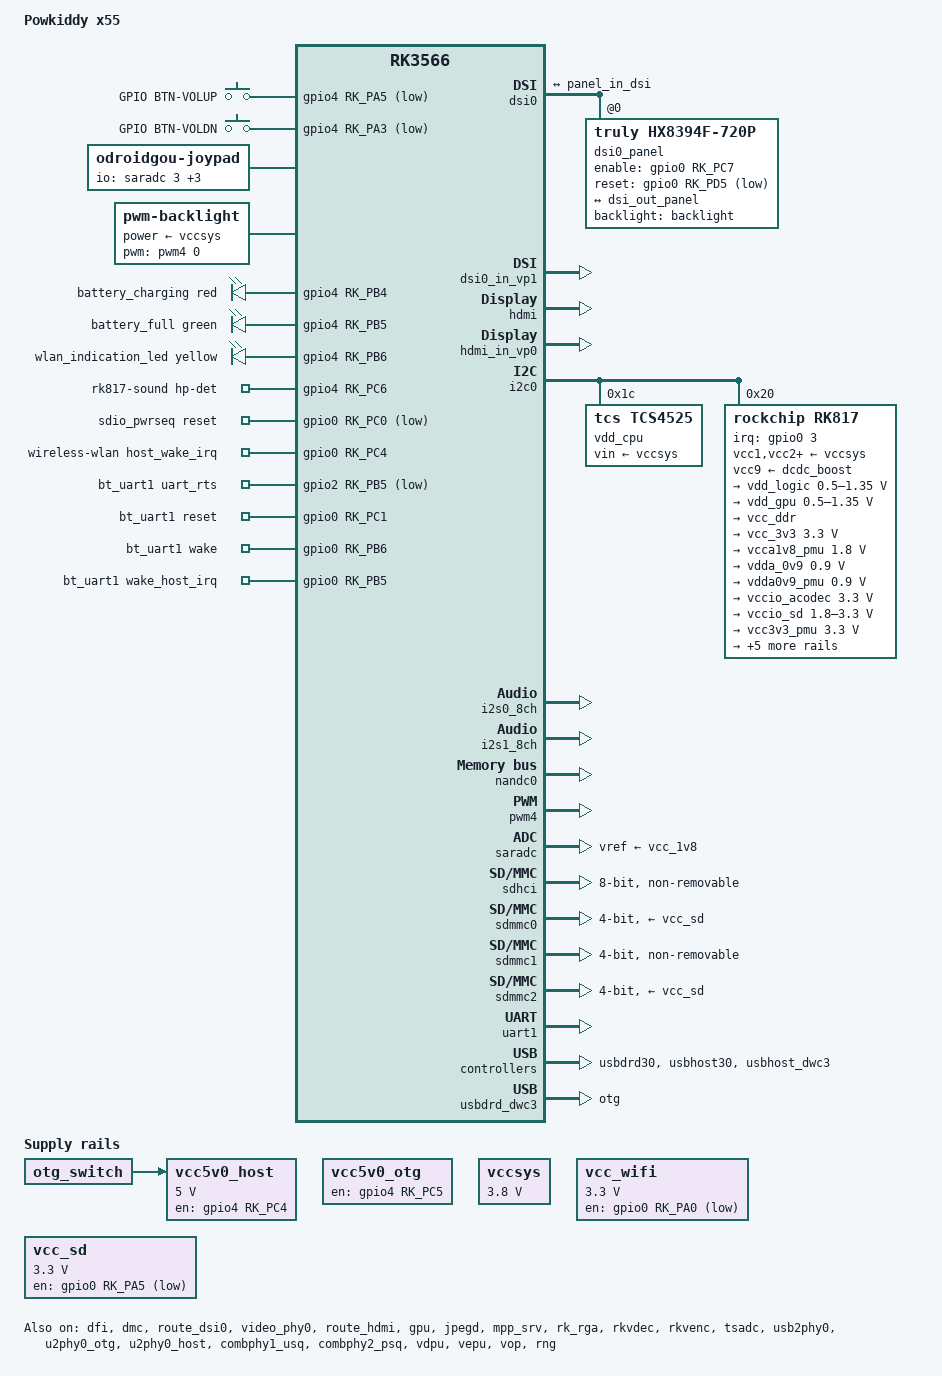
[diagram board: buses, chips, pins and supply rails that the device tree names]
// SPDX-License-Identifier: (GPL-2.0+ OR MIT)
/*
 * Copyright (c) 2020 Rockchip Electronics Co., Ltd.
 *
 */

/dts-v1/;

#include <dt-bindings/gpio/gpio.h>
#include <dt-bindings/pinctrl/rockchip.h>
#include <dt-bindings/input/rk-input.h>
#include <dt-bindings/leds/common.h>
#include <dt-bindings/sensor-dev.h>
#include <dt-bindings/display/drm_mipi_dsi.h>
#include <dt-bindings/display/rockchip_vop.h>
#include "rk3566.dtsi"
/ {
	
	model = "Powkiddy x55";
	compatible = "rockchip,rk3566-rk817-tablet", "rockchip,rk3566";

	aliases {
		mmc3 = &sdhci;
		mmc0 = &sdmmc0;
		mmc2 = &sdmmc1;
		mmc1 = &sdmmc2;
	};

	fiq_debugger: fiq-debugger {
		compatible = "rockchip,fiq-debugger";
		rockchip,serial-id = <2>;
		rockchip,wake-irq = <0>;
		/* If enable uart uses irq instead of fiq */
		rockchip,irq-mode-enable = <1>;
		rockchip,baudrate = <1500000>;  /* Only 115200 and 1500000 */
		interrupts = <GIC_SPI 252 IRQ_TYPE_LEVEL_LOW>;
		pinctrl-names = "default";
		pinctrl-0 = <&uart2m0_xfer>;
		status = "okay";
	};

	reserved-memory {
		#address-cells = <2>;
		#size-cells = <2>;
		ranges;

		cma {
			compatible = "shared-dma-pool";
			reusable;
			size = <0x0 (8 * 0x100000)>;
			linux,cma-default;
		};

		drm_logo: drm-logo@00000000 {
			compatible = "rockchip,drm-logo";
			reg = <0x0 0x0 0x0 0x0>;
		};
	};
	
	gpio_keys: x55-gpio-keys {
		compatible = "gpio-keys";
		autorepeat;
		pinctrl-0 = <&btn_pins_vol>;
		pinctrl-names = "default";
		
		button@0 {
			label = "GPIO BTN-VOLUP";
			linux,code = <KEY_VOLUMEUP>;
                        gpios = <&gpio4 RK_PA5 GPIO_ACTIVE_LOW> ;
		};
		button@1 {
			label = "GPIO BTN-VOLDN";
			linux,code = <KEY_VOLUMEDOWN>;
                        gpios = <&gpio4 RK_PA3 GPIO_ACTIVE_LOW>;
		};
	};

	joypad: gou_joypad {
                compatible = "odroidgou-joypad";
		status = "okay";

                joypad-name = "GO-Ultra Gamepad";
                joypad-product = <0x1000>;
                joypad-revision = <0x0100>;
		joypad-vendor = <0x484B>;

		/* Analog mux define */
		io-channels = <&saradc 3>,<&saradc 2>,<&saradc 1>, <&saradc 0>;
		io-channel-names = "key-RY", "key-RX", "key-LY", "key-LX";

		/* adc calculate scale */
		button-adc-scale = <2>;

		/* adc deadzone range  */
		button-adc-deadzone = <216>;

		/*
		  specifies fuzz value that is used to filter noise from
		  the event stream.
		*/
		button-adc-fuzz = <54>;
		button-adc-flat = <54>;

		/*
		  Analog Stick data tuning value(precent)
		  p = positive direction, n = negative direction
		  report value = (real_adc_data * tuning_value) / 100
		*/
		abs_x-p-tuning = <180>;
		abs_x-n-tuning = <180>;

		abs_y-p-tuning = <180>;
		abs_y-n-tuning = <180>;

		abs_rx-p-tuning = <180>;
		abs_rx-n-tuning = <180>;

		abs_ry-p-tuning = <180>;
		abs_ry-n-tuning = <180>;

		/* poll device interval (ms), adc read interval */
		poll-interval = <10>;

		/* gpio button auto repeat set value : default disable */
		/*
			autorepeat;
		*/

		/*    *** Powkiddy X55 Switch layout ***
		|------------------------------------------------|
		| sw15                           	    sw13 |
		| sw16                          	    sw14 |
		|------------------------------------------------|
		|                                                |
		|   Analog     |-------------------|             |
		|    sw11      |                   |      sw8    |
		|              |                   |   sw7   sw5 |
		|              |    LCD Display    |      sw6    |
		|     sw1      |                   |             |
		|  sw3  sw4    |                   |    Analog   |
		|     sw2      |-------------------|     sw12    |
		|                                                |         
		| sw9 Vol+                           Vol- sw10   |
		|                                                |
		|------------------------------------------------| */
                /*  joypad driver is poll-device driver.
                    poll-device is does not support wakeup-source.
		*/
                
                sw1 {
                        gpios = <&gpio4 RK_PA0 GPIO_ACTIVE_LOW>;
                        label = "GPIO DPAD-UP";
                        linux,code = <103>; // 0x220
                };                
                sw2 {
                        gpios = <&gpio4 RK_PA1 GPIO_ACTIVE_LOW>;
                        label = "GPIO DPAD-DOWN";
                        linux,code = <108>; // 0x221
                };
                sw3 {
                        gpios = <&gpio3 RK_PD6 GPIO_ACTIVE_LOW>;
                        label = "GPIO DPAD-LEFT";
                        linux,code = <105>; // 0x222
                };                
                sw4 {
                        gpios = <&gpio3 RK_PD7 GPIO_ACTIVE_LOW>;
                        label = "GPIO DPAD-RIGHT";
                        linux,code = <106>; // 0x223
                };
                sw5 {
                        gpios = <&gpio3 RK_PD3 GPIO_ACTIVE_LOW>;
                        label = "GPIO BTN-A";
                        linux,code = <304>; // 0x131
                };
                sw6 {
                        gpios = <&gpio3 RK_PD2 GPIO_ACTIVE_LOW> ;
                        label = "GPIO BTN-B";
                        linux,code = <305>; // 0x130
                };                
                sw7 {
                        gpios = <&gpio3 RK_PD4 GPIO_ACTIVE_LOW>;
                        label = "GPIO BTN-Y";
                        linux,code = <308>; // 0x134
                };                
                sw8 {
                        gpios = <&gpio3 RK_PD5 GPIO_ACTIVE_LOW>;
                        label = "GPIO BTN-X";
                        linux,code = <307>; // 0x133
                };                
                sw9 {
                        gpios = <&gpio4 RK_PA4 GPIO_ACTIVE_LOW>;
                        label = "Select";
                        linux,code = <314>; //0x139 //select                        
                };
                sw10 {
                        gpios = <&gpio4 RK_PA2 GPIO_ACTIVE_LOW>;
                        label = "Start";
                        linux,code = <315>; // 0x13a // start                        
                };
                sw11 {
                        gpios = <&gpio4 RK_PA7 GPIO_ACTIVE_LOW>;
                        label = "BUTTON_THUMBL";
                        linux,code = <317>;             
                };
                sw12 {
                        gpios = <&gpio4 RK_PB0 GPIO_ACTIVE_LOW>;
                        label = "BUTTON_THUMBR";
                        linux,code = <318>;
                };
                sw13 {
                        gpios = <&gpio3 RK_PC6 GPIO_ACTIVE_LOW>;
                        label = "GPIO TOP-RIGHT";
                        linux,code = <311>; // 0x05
                };                
                sw14 {
                        gpios = <&gpio3 RK_PC7 GPIO_ACTIVE_LOW>;
                        label = "GPIO TOP-RIGHT2";
                        linux,code = <313>;
                };
                sw15 {
                        gpios = <&gpio3 RK_PD0 GPIO_ACTIVE_LOW>;
                        label = "GPIO TOP-LEFT";
                        linux,code = <310>; // 0x02
                };                
                sw16 {
                        gpios = <&gpio3 RK_PD1 GPIO_ACTIVE_LOW>;
                        label = "GPIO TOP-LEFT2";
                        linux,code = <312>;
                };                
                
        };

	backlight: backlight {
		compatible = "pwm-backlight";
		power-supply = <&vccsys>;
		pwms = <&pwm4 0 25000 0>;
		brightness-levels = <
			  0  20  20  21  21  22  22  23
			 23  24  24  25  25  26  26  27
			 27  28  28  29  29  30  30  31
			 31  32  32  33  33  34  34  35
			 35  36  36  37  37  38  38  39
			 40  41  42  43  44  45  46  47
			 48  49  50  50  51  52  53  54
			 55  55  56  57  58  59  60  61
			 62  63  64  64  65  65  66  67
			 68  69  70  71  71  72  73  74
			 75  76  77  78  79  79  80  81
			 82  83  84  85  86  86  87  88
			 89  90  91  92  93  94  94  95
			 96  97  98  99 100 101 101 102
			103 104 105 106 107 107 108 109
			110 111 112 113 114 115 115 116
			117 118 119 120 121 122 123 123
			124 125 126 127 128 129 130 130
			131 132 133 134 135 136 136 137
			138 139 140 141 142 143 143 144
			145 146 147 147 148 149 150 151
			152 153 154 155 156 156 157 158
			159 157 158 159 160 161 162 162
			163 164 165 166 167 168 169 169
			170 171 172 173 174 175 175 176
			177 178 179 180 181 182 182 183
			184 185 186 187 188 189 190 190
			191 192 193 194 195 196 197 197
			198 199 200 201 202 203 204 204
			205 206 207 208 209 209 210 211
			212 213 213 214 214 215 215 216
			216 217 217 218 218 219 219 220
		>;
		default-brightness-level = <200>;
	};

	gpio-leds {
		compatible = "gpio-leds";

		led-red {
			color = <LED_COLOR_ID_RED>;
			gpios = <&gpio4 RK_PB4 GPIO_ACTIVE_HIGH>;
			linux,default-trigger = "battery-charging";
			label = "battery_charging";
		};
		
		led-green {
			color = <LED_COLOR_ID_GREEN>;
			gpios = <&gpio4 RK_PB5 GPIO_ACTIVE_HIGH>;
			linux,default-trigger = "battery-full";
			label = "battery_full";
		};
		
		led-yellow {
			color = <LED_COLOR_ID_YELLOW>;
			gpios = <&gpio4 RK_PB6 GPIO_ACTIVE_HIGH>;
			linux,default-trigger = "wlan-indication-led";
			label = "wlan_indication_led";
		};		
	};

	charge-animation {
		compatible = "rockchip,uboot-charge";
		rockchip,uboot-charge-on = <1>;
		rockchip,android-charge-on = <0>;
		rockchip,uboot-low-power-voltage = <3350>;
		rockchip,screen-on-voltage = <3400>;
		status = "okay";
	};

	vcc5v0_otg: vcc5v0-otg-regulator {
		compatible = "regulator-fixed";
		enable-active-high;
		gpio = <&gpio4 RK_PC5 GPIO_ACTIVE_HIGH>;
		pinctrl-names = "default";
		pinctrl-0 = <&vcc5v0_otg_en>;
		regulator-name = "vcc5v0_otg";
		regulator-always-on;
		regulator-boot-on;		
	};

	vcc5v0_host: vcc5v0-host-regulator {
		compatible = "regulator-fixed";
		regulator-name = "vcc5v0_host";
		regulator-always-on;
		regulator-boot-on;
		regulator-min-microvolt = <5000000>;
		regulator-max-microvolt = <5000000>;		
		enable-active-high;
		gpio = <&gpio4 RK_PC4 GPIO_ACTIVE_HIGH>;
		vin-supply = <&otg_switch>;		
		pinctrl-names = "default";
		pinctrl-0 = <&vcc5v0_host_en>;


	};

	rk817-sound {
		compatible = "simple-audio-card";
		pinctrl-names = "default";
		pinctrl-0 = <&hp_det>;
		
		simple-audio-card,format = "i2s";
		simple-audio-card,name = "rockchip,rk817-codec";
		simple-audio-card,mclk-fs = <256>;
		
		simple-audio-card,hp-det-gpio = <&gpio4 RK_PC6 GPIO_ACTIVE_HIGH>;

		simple-audio-card,cpu {
			sound-dai = <&i2s1_8ch>;
		};
		simple-audio-card,codec {
			sound-dai = <&rk817_codec>;
		};
	};

	hdmi_sound: hdmi-sound {
		compatible = "rockchip,hdmi";
		rockchip,mclk-fs = <128>;
		rockchip,card-name = "rockchip,hdmi";
		rockchip,cpu = <&i2s0_8ch>;
		rockchip,codec = <&hdmi>;
		rockchip,jack-det;
	};

	vccsys: vccsys {
		compatible = "regulator-fixed";
		regulator-name = "vcc3v8_sys";
		regulator-always-on;
		regulator-boot-on;
		regulator-min-microvolt = <3800000>;
		regulator-max-microvolt = <3800000>;
	};

	vcc_wifi: regulator-vcc-wifi {
		compatible = "regulator-fixed";
		gpio = <&gpio0 RK_PA0 GPIO_ACTIVE_LOW>;
		pinctrl-0 = <&vcc_wifi_h>;
		pinctrl-names = "default";
		regulator-always-on;
		regulator-boot-on;
		regulator-min-microvolt = <3300000>;
		regulator-max-microvolt = <3300000>;
		regulator-name = "vcc_wifi";
	};
	
	sdio_pwrseq: sdio-pwrseq {
		compatible = "mmc-pwrseq-simple";
		clocks = <&rk817 1>;
		clock-names = "ext_clock";
		pinctrl-names = "default";
		pinctrl-0 = <&wifi_enable_h>;		
		post-power-on-delay-ms = <200>;
		reset-gpios = <&gpio0 RK_PC0 GPIO_ACTIVE_LOW>;
	};

	wireless-wlan {
		compatible = "wlan-platdata";
		rockchip,grf = <&grf>;
		wifi_chip_type = "rtl8821cs";
		pinctrl-names = "default";
		pinctrl-0 = <&wifi_host_wake_irq>;
		WIFI,host_wake_irq = <&gpio0 RK_PC4 GPIO_ACTIVE_HIGH>;
		status = "okay";
	};

	bt_uart1: wireless_bluetooth: wireless-bluetooth {
		compatible = "bluetooth-platdata";
		clocks = <&rk817 1>;
		clock-names = "ext_clock";
		//wifi-bt-power-toggle;
		uart_rts_gpios = <&gpio2 RK_PB5 GPIO_ACTIVE_LOW>;
		pinctrl-names = "default", "rts_gpio";
		pinctrl-0 = <&uart1m0_rtsn>,
			    <&bt_reset_gpio>,
			    <&bt_wake_gpio>,
			    <&bt_irq_gpio>;
		pinctrl-1 = <&uart1_gpios>;
		BT,reset_gpio    = <&gpio0 RK_PC1 GPIO_ACTIVE_HIGH>;
		BT,wake_gpio     = <&gpio0 RK_PB6 GPIO_ACTIVE_HIGH>;
		BT,wake_host_irq = <&gpio0 RK_PB5 GPIO_ACTIVE_HIGH>;
		status = "okay";
	};

	vcc_sd: vcc-sd {
		compatible = "regulator-gpio";
		enable-active-low;
		enable-gpio = <&gpio0 RK_PA5 GPIO_ACTIVE_LOW>;
		regulator-min-microvolt = <3300000>;
		regulator-max-microvolt = <3300000>;
		pinctrl-names = "default";
		pinctrl-0 = <&vcc_sd_h>;
		regulator-name = "vcc_sd";
		states = <3300000 0x0
			3300000 0x1>;
	};
};

&cpu0 {
	cpu-supply = <&vdd_cpu>;
};

&csi2_dphy_hw {
	status = "disabled";
};

&csi2_dphy0 {
	status = "disabled";
};

&vp0 {
			rockchip,plane-mask = <0x2a>;
			rockchip,primary-plane = <0x5>;
};

&vp1 {
			rockchip,plane-mask = <0x15>;
			rockchip,primary-plane = <0x4>;
};


&dfi {
	status = "okay";
};

&dmc {
	center-supply = <&vdd_logic>;
	status = "okay";
};

&dsi0 {
	status = "okay";
	rockchip,lane-rate = <500>;

	dsi0_panel: panel@0 {
		compatible = "truly,hx8394f-720p", "simple-panel-dsi";
                reg = <0>;
                
		backlight = <&backlight>;
		enable-gpios = <&gpio0 RK_PC7 GPIO_ACTIVE_HIGH>;
		reset-gpios = <&gpio0 RK_PD5 GPIO_ACTIVE_LOW>;
		pinctrl-names = "default";
		pinctrl-0 = <&lcd_enable_gpio>, <&lcd_rst_gpio>;
                
		reset-delay-ms = <60>;
		enable-delay-ms = <120>;
		prepare-delay-ms = <60>;
		init-delay-ms = <60>;
		unprepare-delay-ms = <60>;
		disable-delay-ms = <60>;

		width-mm = <69>;
		height-mm = <139>;
		
		dsi,flags = <(MIPI_DSI_MODE_VIDEO | MIPI_DSI_MODE_VIDEO_BURST |
			MIPI_DSI_MODE_LPM | MIPI_DSI_MODE_EOT_PACKET)>;
		dsi,format = <MIPI_DSI_FMT_RGB888>;
		dsi,lanes  = <4>;
		
		panel-init-sequence = [
			39 00 04 B9 FF 83 94
			39 00 07 BA 63 03 68 6B B2 C0
			39 00 0B B1 48 12 72 09 32 54 71 71 57 47
			39 00 07 B2 00 80 64 0C 0D 2F
			39 00 16 B4 73 74 73 74 73 74 01 0C 86 75 00 3F 73 74 73 74 73 74 01 0C 86
			39 00 03 B6 6E 6E
			39 00 22 D3 00 00 07 07 40 07 0C 00 08 10 08 00 08 54 15 0A 05 0A 02 15 06 05 06 47 44 0A 0A 4B 10 07 07 0C 40
			39 00 2D D5 1C 1C 1D 1D 00 01 02 03 04 05 06 07 08 09 0A 0B 24 25 18 18 26 27 18 18 18 18 18 18 18 18 18 18 18 18 18 18 18 18 20 21 18 18 18 18 
			39 00 2D D6 1C 1C 1D 1D 07 06 05 04 03 02 01 00 0B 0A 09 08 21 20 18 18 27 26 18 18 18 18 18 18 18 18 18 18 18 18 18 18 18 18 25 24 18 18 18 18
			39 00 3B E0 00 0A 15 1B 1E 21 24 22 47 56 65 66 6E 82 88 8B 9A 9D 98 A8 B9 5D 5C 61 66 6A 6F 7F 7F 00 0A 15 1B 1E 21 24 22 47 56 65 65 6E 81 87 8B 98 9D 99 A8 BA 5D 5D 62 67 6B 72 7F 7F 
			39 00 03 C0 1F 31
			15 00 02 CC 0B
			15 00 02 D4 02
			15 00 02 BD 02
			39 00 0D D8 FF FF FF FF FF FF FF FF FF FF FF FF 
			15 00 02 BD 00
			15 00 02 BD 01
			15 00 02 B1 00
			15 00 02 BD 00
			39 00 08 BF 40 81 50 00 1A FC 01
			15 00 02 C6 ED
			
			05 78 01 11
			05 14 01 29
		];

		panel-exit-sequence = [
			05 00 01 28
			05 00 01 10
		];

		disp_timings0: display-timings {
                        native-mode = <&dsi0_timing0>;
                        dsi0_timing0: timing0 {
				clock-frequency = <60000000>;
				hactive = <720>;
				vactive = <1280>;
				hback-porch = <20>;
				hfront-porch = <24>;
				vback-porch = <8>;
				vfront-porch = <8>;
				hsync-len = <4>;
				vsync-len = <4>;
				hsync-active = <0>;
				vsync-active = <0>;
				de-active = <0>;
				pixelclk-active = <0>;
                    	};
               };

		ports {
			#address-cells = <1>;
			#size-cells = <0>;

			port@0 {
				reg = <0>;
				panel_in_dsi: endpoint {
					remote-endpoint = <&dsi_out_panel>;
				};
			};
		};
	};

	ports {
		#address-cells = <1>;
		#size-cells = <0>;

		port@1 {
			reg = <1>;
			dsi_out_panel: endpoint {
				remote-endpoint = <&panel_in_dsi>;
			};
		};
	};

};

&dsi0_in_vp1 {
	status = "okay";
};


&route_dsi0 {
	status = "okay";
	connect = <&vp1_out_dsi0>;
};

&video_phy0 {
	status = "okay";
};

&hdmi {
	status = "okay";	
	rockchip,phy-table =
		<92812500  0x8009 0x0000 0x0270>,
		<165000000 0x800b 0x0000 0x026d>,
		<185625000 0x800b 0x0000 0x01ed>,
		<297000000 0x800b 0x0000 0x01ad>,
		<594000000 0x8029 0x0000 0x0088>,
		<000000000 0x0000 0x0000 0x0000>;	
};

&hdmi_in_vp0 {
	status = "okay";
};

&route_hdmi {
	status = "okay";
	connect = <&vp0_out_hdmi>;
};

&gpu {
	mali-supply = <&vdd_gpu>;
	status = "okay";
};

&i2c0 {
	status = "okay";

	vdd_cpu: tcs4525@1c {
		compatible = "tcs,tcs4525";
		reg = <0x1c>;
		vin-supply = <&vccsys>;
		regulator-compatible = "fan53555-reg";
		regulator-name = "vdd_cpu";
		regulator-min-microvolt = <712500>;
		regulator-max-microvolt = <1390000>;
		regulator-init-microvolt = <900000>;
		regulator-ramp-delay = <2300>;
		fcs,suspend-voltage-selector = <1>;
		regulator-boot-on;
		regulator-always-on;
		regulator-state-mem {
			regulator-on-in-suspend;
		};
	};

	rk817: pmic@20 {
		compatible = "rockchip,rk817";
		reg = <0x20>;
		interrupt-parent = <&gpio0>;
		interrupts = <3 IRQ_TYPE_LEVEL_LOW>;

		pinctrl-names = "default", "pmic-sleep",
				"pmic-power-off", "pmic-reset";
		pinctrl-0 = <&pmic_int>;
		pinctrl-1 = <&soc_slppin_slp>, <&rk817_slppin_slp>;
		pinctrl-2 = <&soc_slppin_gpio>, <&rk817_slppin_pwrdn>;
		pinctrl-3 = <&soc_slppin_gpio>, <&rk817_slppin_rst>;
		
		rockchip,system-power-controller;
		wakeup-source;
		#clock-cells = <1>;
		clock-output-names = "rk808-clkout1", "rk808-clkout2";
		//fb-inner-reg-idxs = <2>;
		/* 1: rst regs (default in codes), 0: rst the pmic */
		pmic-reset-func = <0>;
		/* not save the PMIC_POWER_EN register in uboot */
		not-save-power-en = <1>;

		vcc1-supply = <&vccsys>;
		vcc2-supply = <&vccsys>;
		vcc3-supply = <&vccsys>;
		vcc4-supply = <&vccsys>;
		vcc5-supply = <&vccsys>;
		vcc6-supply = <&vccsys>;
		vcc7-supply = <&vccsys>;
		vcc8-supply = <&vccsys>;
		vcc9-supply = <&dcdc_boost>;

		pwrkey {
			status = "okay";
		};

		pinctrl_rk8xx: pinctrl_rk8xx {
			gpio-controller;
			#gpio-cells = <2>;

			rk817_slppin_null: rk817_slppin_null {
				pins = "gpio_slp";
				function = "pin_fun0";
			};

			rk817_slppin_slp: rk817_slppin_slp {
				pins = "gpio_slp";
				function = "pin_fun1";
			};

			rk817_slppin_pwrdn: rk817_slppin_pwrdn {
				pins = "gpio_slp";
				function = "pin_fun2";
			};

			rk817_slppin_rst: rk817_slppin_rst {
				pins = "gpio_slp";
				function = "pin_fun3";
			};
		};

		regulators {
			vdd_logic: DCDC_REG1 {
				regulator-always-on;
				regulator-boot-on;
				regulator-min-microvolt = <500000>;
				regulator-max-microvolt = <1350000>;
				regulator-init-microvolt = <900000>;
				regulator-ramp-delay = <6001>;
				regulator-initial-mode = <0x2>;
				regulator-name = "vdd_logic";
				regulator-state-mem {
					regulator-on-in-suspend;
					regulator-suspend-microvolt = <900000>;
				};
			};

			vdd_gpu: DCDC_REG2 {
				regulator-always-on;
				regulator-boot-on;
				regulator-min-microvolt = <500000>;
				regulator-max-microvolt = <1350000>;
				regulator-init-microvolt = <900000>;
				regulator-ramp-delay = <6001>;
				regulator-initial-mode = <0x2>;
				regulator-name = "vdd_gpu";
				regulator-state-mem {
					regulator-off-in-suspend;
				};
			};

			vcc_ddr: DCDC_REG3 {
				regulator-always-on;
				regulator-boot-on;
				regulator-initial-mode = <0x2>;
				regulator-name = "vcc_ddr";
				regulator-state-mem {
					regulator-on-in-suspend;
				};
			};

			vcc_3v3: DCDC_REG4 {
				regulator-always-on;
				regulator-boot-on;
				regulator-min-microvolt = <3300000>;
				regulator-max-microvolt = <3300000>;
				regulator-initial-mode = <0x2>;
				regulator-name = "vcc_3v3";
				regulator-state-mem {
					regulator-off-in-suspend;
				};
			};

			vcca1v8_pmu: LDO_REG1 {
				regulator-always-on;
				regulator-boot-on;
				regulator-min-microvolt = <1800000>;
				regulator-max-microvolt = <1800000>;
				regulator-name = "vcca1v8_pmu";
				regulator-state-mem {
					regulator-on-in-suspend;
					regulator-suspend-microvolt = <1800000>;
				};
			};

			vdda_0v9: LDO_REG2 {
				regulator-always-on;
				regulator-boot-on;
				regulator-min-microvolt = <900000>;
				regulator-max-microvolt = <900000>;
				regulator-name = "vdda_0v9";
				regulator-state-mem {
					regulator-off-in-suspend;
				};
			};

			vdda0v9_pmu: LDO_REG3 {
				regulator-always-on;
				regulator-boot-on;
				regulator-min-microvolt = <900000>;
				regulator-max-microvolt = <900000>;
				regulator-name = "vdda0v9_pmu";
				regulator-state-mem {
					regulator-on-in-suspend;
					regulator-suspend-microvolt = <900000>;
				};
			};

			vccio_acodec: LDO_REG4 {
				regulator-always-on;
				regulator-boot-on;
				regulator-min-microvolt = <3300000>;
				regulator-max-microvolt = <3300000>;
				regulator-name = "vccio_acodec";
				regulator-state-mem {
					regulator-off-in-suspend;
				};
			};

			vccio_sd: LDO_REG5 {
				regulator-always-on;
				regulator-boot-on;
				regulator-min-microvolt = <1800000>;
				regulator-max-microvolt = <3300000>;
				regulator-name = "vccio_sd";
				regulator-state-mem {
					regulator-off-in-suspend;
				};
			};

			vcc3v3_pmu: LDO_REG6 {
				regulator-always-on;
				regulator-boot-on;
				regulator-min-microvolt = <3300000>;
				regulator-max-microvolt = <3300000>;
				regulator-name = "vcc3v3_pmu";
				regulator-state-mem {
					regulator-on-in-suspend;
					regulator-suspend-microvolt = <3000000>;
				};
			};

			vcc_1v8: LDO_REG7 {
				regulator-always-on;
				regulator-boot-on;
				regulator-min-microvolt = <1800000>;
				regulator-max-microvolt = <1800000>;
				regulator-name = "vcc_1v8";
				regulator-state-mem {
					regulator-off-in-suspend;
				};
			};

			vcc1v8_dvp: LDO_REG8 {
				regulator-always-on;
				regulator-boot-on;
				regulator-min-microvolt = <1800000>;
				regulator-max-microvolt = <1800000>;
				regulator-name = "vcc1v8_dvp";
				regulator-state-mem {
					regulator-off-in-suspend;
				};
			};

			vcc2v8_dvp: LDO_REG9 {
				regulator-always-on;
				regulator-boot-on;
				regulator-min-microvolt = <1800000>;
				regulator-max-microvolt = <3300000>;
				regulator-name = "vcc2v8_dvp";
				regulator-state-mem {
					regulator-off-in-suspend;
				};
			};

			dcdc_boost: BOOST {
				regulator-always-on;
				regulator-boot-on;
				regulator-min-microvolt = <4700000>;
				regulator-max-microvolt = <5400000>;
				regulator-name = "boost";
				regulator-state-mem {
					regulator-off-in-suspend;
				};
			};

			otg_switch: OTG_SWITCH {
				regulator-name = "otg_switch";
				regulator-state-mem {
					regulator-off-in-suspend;
				};
			};
		};

		battery {
			compatible = "rk817,battery";
			ocv_table = <3400 3553 3621 3688 3735 3768 3801
				     3826 3843 3857 3878 3904 3934 3972
				     4006 4020 4030 4044 4059 4083 4138>;
			design_capacity = <3527>;
			design_qmax = <3880>;
			bat_res = <91>;
			sleep_enter_current = <150>;
			sleep_exit_current = <180>;
			sleep_filter_current = <100>;
			power_off_thresd = <3350>;
			zero_algorithm_vol = <3300>;
			fb_temperature = <105>;			
			max_soc_offset = <60>;
			energy_mode = <0>;			
			monitor_sec = <5>;
			sample_res = <10>;
			virtual_power = <0>;
			low_power_sleep = <1>;
		};

		charger {
			compatible = "rk817,charger";
			min_input_voltage = <4500>;
			max_input_current = <2000>;
			max_chrg_current = <2000>;
			max_chrg_voltage = <4300>;
			chrg_term_mode = <0>;
			chrg_finish_cur = <300>;
			virtual_power = <0>;
			dc_det_adc = <0>;
			power_dc2otg = <1>;
			sample_res = <10>;
			otg5v_suspend_enable = <1>;			
			pinctrl-names = "default";
			pinctrl-0 = <&charge_led_gpio>;
			extcon = <&usb2phy0>;
			gate_function_disable = <1>;
		};

		rk817_codec: codec {
			#sound-dai-cells = <0>;
			compatible = "rockchip,rk817-codec";
			clocks = <&cru I2S1_MCLKOUT>;
			clock-names = "mclk";
			assigned-clocks = <&cru I2S1_MCLKOUT>, <&cru I2S1_MCLK_TX_IOE>;
			assigned-clock-rates = <12288000>;
			assigned-clock-parents = <&cru I2S1_MCLKOUT_TX>, <&cru I2S1_MCLKOUT_TX>;
			pinctrl-names = "default";
			pinctrl-0 = <&i2s1m0_mclk>;
			hp-volume = <20>;
			spk-volume = <3>;
			out-l2spk-r2hp;
			spk-ctl-gpios = <&gpio4 RK_PC2 GPIO_ACTIVE_HIGH>;
			status = "okay";
		};
	};
};

&i2c2 {
	status = "disabled";
	pinctrl-0 = <&i2c2m1_xfer>;
};

&i2c3 {
	status = "disabled";
	pinctrl-names = "default";
	pinctrl-0 = <&i2c3m1_xfer>;
	clock-frequency = <400000>;
	i2c-scl-rising-time-ns = <138>;
	i2c-scl-falling-time-ns = <4>;

};

&i2c5 {
	status = "disabled";
	clock-frequency = <400000>;
	i2c-scl-rising-time-ns = <144>;
	i2c-scl-falling-time-ns = <4>;

};

&i2s0_8ch {
	status = "okay";
};

&i2s1_8ch {
	status = "okay";
	rockchip,clk-trcm = <1>;
	pinctrl-names = "default";
	pinctrl-0 = <&i2s1m0_sclktx
		     &i2s1m0_lrcktx
		     &i2s1m0_sdi0
		     &i2s1m0_sdo0>;
};

&jpegd {
	status = "okay";
};

&jpegd_mmu {
	status = "okay";
};

&mpp_srv {
	status = "okay";
};

&nandc0 {
	status = "okay";
};

&pinctrl {

	gpio-control {
		btn_pins_vol: btn-pins-vol {
			rockchip,pins =
				<4 RK_PA3 RK_FUNC_GPIO &pcfg_pull_up>,
				<4 RK_PA5 RK_FUNC_GPIO &pcfg_pull_up>;
		};
	};

	headphone {
		hp_det: hp-det {
			rockchip,pins = <4 RK_PC6 RK_FUNC_GPIO &pcfg_pull_up>;
		};
	};

	lcd {
		lcd_rst_gpio: lcd-rst-gpio {
			rockchip,pins = <0 RK_PD5 RK_FUNC_GPIO &pcfg_pull_none>;
		};

		lcd_enable_gpio: lcd-enable-gpio {
			rockchip,pins = <0 RK_PC7 RK_FUNC_GPIO &pcfg_pull_none>;
		};
	};

	pmic {
		pmic_int: pmic_int {
			rockchip,pins =
				<0 RK_PA3 RK_FUNC_GPIO &pcfg_pull_up>;
		};

		soc_slppin_gpio: soc_slppin_gpio {
			rockchip,pins =
				<0 RK_PA2 RK_FUNC_GPIO &pcfg_output_low_pull_down>;
		};

		soc_slppin_slp: soc_slppin_slp {
			rockchip,pins =
				<0 RK_PA2 1 &pcfg_pull_up>;
		};

		soc_slppin_rst: soc_slppin_rst {
			rockchip,pins =
				<0 RK_PA2 2 &pcfg_pull_none>;
		};
	};

	sdio-pwrseq {
		wifi_enable_h: wifi-enable-h {
			rockchip,pins = <0 RK_PC0 RK_FUNC_GPIO &pcfg_pull_none>;
		};
	};

	vcc_sd {
		vcc_sd_h: vcc-sd-h {
			rockchip,pins = <0 RK_PA5 RK_FUNC_GPIO &pcfg_pull_none>;
		};
	};
	
	vcc-wifi {
		vcc_wifi_h: vcc-wifi-h {
			rockchip,pins =
				<0 RK_PA0 RK_FUNC_GPIO &pcfg_pull_none>;
		};
	};

	wireless-wlan {
		wifi_host_wake_irq: wifi-host-wake-irq {
			rockchip,pins = <0 RK_PC4 RK_FUNC_GPIO &pcfg_pull_down>;
		};
	};

	wireless-bluetooth {
		bt_reset_gpio: bt-reset-gpio {
			rockchip,pins = <0 RK_PC1 RK_FUNC_GPIO &pcfg_pull_none>;
		};

		bt_wake_gpio: bt-wake-gpio {
			rockchip,pins = <0 RK_PB6 RK_FUNC_GPIO &pcfg_pull_none>;
		};

		bt_irq_gpio: bt-irq-gpio {
			rockchip,pins = <0 RK_PB5 RK_FUNC_GPIO &pcfg_pull_down>;
		};
		
		uart1_gpios: uart1-gpios {
			rockchip,pins = <2 RK_PB5 RK_FUNC_GPIO &pcfg_pull_none>;
		};
	};
	
	usb {
         	vcc5v0_host_en: vcc5v0-host-en {
                	rockchip,pins = <4 RK_PC4 RK_FUNC_GPIO &pcfg_pull_none>;
		};

         	vcc5v0_otg_en: vcc5v0-otg-en {
                	rockchip,pins = <4 RK_PC5 RK_FUNC_GPIO &pcfg_pull_none>;
         	}; 
	};
	
	led {
		charge_led_gpio:charge-led-gpio{
                 rockchip,pins = <4 RK_PB4 RK_FUNC_GPIO &pcfg_pull_none>,
                 		 <4 RK_PB5 RK_FUNC_GPIO &pcfg_pull_none>,
                                 <4 RK_PB6 RK_FUNC_GPIO &pcfg_pull_none>;
		};
	
	};
};

&pmu_io_domains {
	status = "okay";
	pmuio1-supply = <&vcc3v3_pmu>;	
	pmuio2-supply = <&vcca1v8_pmu>;
	vccio1-supply = <&vccio_acodec>;
	vccio2-supply = <&vcc_1v8>;
	vccio3-supply = <&vccio_sd>;
	vccio4-supply = <&vcca1v8_pmu>;
	vccio5-supply = <&vcc2v8_dvp>;
	vccio6-supply = <&vcc1v8_dvp>;
	vccio7-supply = <&vcc_3v3>;
};

&pwm4 {
	status = "okay";
};

&rk_rga {
	status = "okay";
};

&rkisp {
	status = "disabled";
};

&rkisp_mmu {
	status = "disabled";
};

&rkisp_vir0 {
	status = "disabled";
};

&rkvdec {
	status = "okay";
};

&rkvdec_mmu {
	status = "okay";
};

&rkvenc {
	status = "okay";
};

&rkvenc_mmu {
	status = "okay";
};

&saradc {
	status = "okay";
	vref-supply = <&vcc_1v8>;
};

&sdhci {
	bus-width = <8>;
	supports-emmc;
	non-removable;
	max-frequency = <200000000>;
	status = "okay";
};

/* TF1 */
&sdmmc0 {
	max-frequency = <200000000>;
	supports-sd;
	bus-width = <4>;
	cap-mmc-highspeed;
	cap-sd-highspeed;
	disable-wp;
	sd-uhs-sdr104;
	vmmc-supply = <&vcc_sd>;
	vqmmc-supply = <&vccio_sd>;
	pinctrl-names = "default";
	pinctrl-0 = <&sdmmc0_bus4 &sdmmc0_clk &sdmmc0_cmd &sdmmc0_det>;
	status = "okay";
};

/* SDIO Wifi/BT */
&sdmmc1 {
	max-frequency = <150000000>;
	no-sd;
	no-mmc;
	supports-sdio;
	bus-width = <4>;
	disable-wp;
	cap-sd-highspeed;
	cap-sdio-irq;
	keep-power-in-suspend;
	mmc-pwrseq = <&sdio_pwrseq>;
	non-removable;
	pinctrl-names = "default";
	pinctrl-0 = <&sdmmc1_bus4 &sdmmc1_cmd &sdmmc1_clk>;
	sd-uhs-sdr104;
	rockchip,default-sample-phase = <90>;
	status = "okay";
};

/* TF2 */
&sdmmc2 {
    max-frequency = <200000000>;
    supports-sd;
    bus-width = <4>;
    cap-mmc-highspeed;
    cap-sd-highspeed;
    disable-wp;
    sd-uhs-sdr104;
    vmmc-supply = <&vcc_sd>;
    vqmmc-supply = <&vcc2v8_dvp>;
    pinctrl-names = "default";
    pinctrl-0 = <&sdmmc2m1_bus4 &sdmmc2m1_cmd &sdmmc2m1_clk &sdmmc2m1_det>;
    //rockchip,default-sample-phase = <180>;
    status = "okay";
};

&tsadc {
	rockchip,hw-tshut-mode = <1>;
	rockchip,hw-tshut-polarity = <0>;
	status = "okay";
};


&uart1 {
	status = "okay";
	pinctrl-names = "default";
	pinctrl-0 = <&uart1m0_xfer &uart1m0_ctsn>;
};


/**************************3.0 otg***********************************/
&usbdrd30 { 
	status = "okay";
};

&usbdrd_dwc3 { 
	dr_mode = "otg";
	extcon = <&usb2phy0>;
	status = "okay";
};
/**************************3.0 host***********************************/
&usbhost30 {
	status = "okay";
};

&usbhost_dwc3 {
	status = "okay";
};

/**************************usbphy***********************************/
&usb2phy0 {
	status = "okay";
	pinctrl-names = "default";	
};

&u2phy0_otg {
	vbus-supply = <&vcc5v0_otg>;
	status = "okay";
};

&u2phy0_host {
	status = "okay";
	phy-supply = <&vcc5v0_host>;
};

&combphy1_usq {
	status = "okay";
};

&combphy2_psq {
	status = "okay";
};

/*************************************************************/

&vdpu {
	status = "okay";
};

&vdpu_mmu {
	status = "okay";
};

&vepu {
	status = "okay";
};

&vepu_mmu {
	status = "okay";
};

&vop {
	status = "okay";
	assigned-clocks = <&cru DCLK_VOP0>, <&cru DCLK_VOP1>;
	assigned-clock-parents = <&pmucru PLL_HPLL>, <&cru PLL_VPLL>;
	support-multi-area;
};

&vop_mmu {
	status = "okay";
};

&rng {
	status = "okay";
};

&rockchip_suspend {
	status = "okay";
	rockchip,sleep-debug-en = <0>;	
	rockchip,sleep-mode-config = <
		(0
			| RKPM_SLP_ARMOFF_LOGOFF
			| RKPM_SLP_CENTER_OFF
			| RKPM_SLP_HW_PLLS_OFF
			| RKPM_SLP_PMUALIVE_32K
			| RKPM_SLP_OSC_DIS
			| RKPM_SLP_32K_PVTM
		)
	>;
	rockchip,wakeup-config = <
		(0
		| RKPM_GPIO_WKUP_EN
		)
	>;
};
